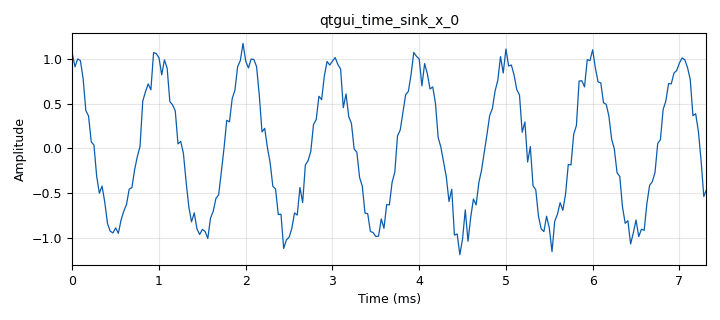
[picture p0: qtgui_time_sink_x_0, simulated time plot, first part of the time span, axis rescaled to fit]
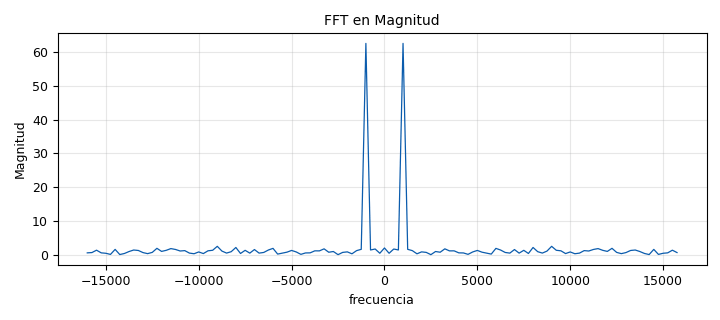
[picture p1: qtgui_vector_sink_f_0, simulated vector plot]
<?xml version='1.0' encoding='utf-8'?>
<?grc format='1' created='3.7.13'?>
<flow_graph>
<block>
<key>options</key>
<param><key>id</key><value>flujo_fft_grc</value></param>
<param><key>generate_options</key><value>qt_gui</value></param>
</block>
<block>
<key>variable</key>
<param><key>id</key><value>N</value></param>
<param><key>value</key><value>128</value></param>
</block>
<block>
<key>variable</key>
<param><key>id</key><value>f</value></param>
<param><key>value</key><value>1000.</value></param>
</block>
<block>
<key>variable</key>
<param><key>id</key><value>samp_rate</value></param>
<param><key>value</key><value>32000.</value></param>
</block>
<block>
<key>analog_noise_source_x</key>
<param><key>id</key><value>analog_noise_source_x_0</value></param>
<param><key>amp</key><value>0.1</value></param>
<param><key>noise_type</key><value>analog.GR_GAUSSIAN</value></param>
<param><key>type</key><value>float</value></param>
<param><key>seed</key><value>0</value></param>
</block>
<block>
<key>analog_sig_source_x</key>
<param><key>id</key><value>analog_sig_source_x_0</value></param>
<param><key>amp</key><value>1</value></param>
<param><key>freq</key><value>f</value></param>
<param><key>offset</key><value>0</value></param>
<param><key>type</key><value>float</value></param>
<param><key>samp_rate</key><value>samp_rate</value></param>
<param><key>waveform</key><value>analog.GR_COS_WAVE</value></param>
</block>
<block>
<key>blocks_add_xx</key>
<param><key>id</key><value>blocks_add_xx_0</value></param>
<param><key>type</key><value>float</value></param>
</block>
<block>
<key>blocks_stream_to_vector</key>
<param><key>id</key><value>blocks_stream_to_vector_0</value></param>
<param><key>type</key><value>float</value></param>
<param><key>num_items</key><value>N</value></param>
</block>
<block>
<key>epy_block</key>
<param><key>id</key><value>e_fft_gnu</value></param>
<param><key>_source_code</key><value>import numpy as np
from gnuradio import gr


class e_vector_fft_ff(gr.sync_block):
    """calcula la fft en magnitud a una senal vectorial de N muestras y emtrega N muestras del espectro. N deber ser potencia de 2"""

    def __init__(self, N=128):  
        gr.sync_block.__init__(
            self,
            name='e_vector_fft_ff',   
            in_sig=[(np.float32,N)],
            out_sig=[(np.float32,N)]
        )
        self.N = N

    def work(self, input_items, output_items):
        in0 = input_items[0]
    	out0 = output_items[0]
    	out0[:]=abs(np.fft.fftshift(np.fft.fft(in0,self.N),1)) 
        return len(output_items[0])
</value></param>
<param><key>N</key><value>N</value></param>
</block>
<block>
<key>qtgui_time_sink_x</key>
<param><key>id</key><value>qtgui_time_sink_x_0</value></param>
<param><key>color1</key><value>"blue"</value></param>
<param><key>label1</key><value></value></param>
<param><key>size</key><value>1024</value></param>
<param><key>srate</key><value>samp_rate</value></param>
<param><key>type</key><value>float</value></param>
</block>
<block>
<key>qtgui_vector_sink_f</key>
<param><key>id</key><value>qtgui_vector_sink_f_0</value></param>
<param><key>autoscale</key><value>True</value></param>
<param><key>name</key><value>"FFT en Magnitud"</value></param>
<param><key>showports</key><value>True</value></param>
<param><key>vlen</key><value>N</value></param>
<param><key>x_axis_label</key><value>"frecuencia"</value></param>
<param><key>x_start</key><value>-samp_rate/2.</value></param>
<param><key>x_step</key><value>samp_rate/N</value></param>
<param><key>ymax</key><value>40</value></param>
<param><key>ymin</key><value>-10</value></param>
<param><key>y_axis_label</key><value>"Magnitud"</value></param>
</block>
<connection><source_block_id>analog_noise_source_x_0</source_block_id><sink_block_id>blocks_add_xx_0</sink_block_id><source_key>0</source_key><sink_key>1</sink_key></connection>
<connection><source_block_id>analog_sig_source_x_0</source_block_id><sink_block_id>blocks_add_xx_0</sink_block_id><source_key>0</source_key><sink_key>0</sink_key></connection>
<connection><source_block_id>blocks_add_xx_0</source_block_id><sink_block_id>blocks_stream_to_vector_0</sink_block_id><source_key>0</source_key><sink_key>0</sink_key></connection>
<connection><source_block_id>blocks_add_xx_0</source_block_id><sink_block_id>qtgui_time_sink_x_0</sink_block_id><source_key>0</source_key><sink_key>0</sink_key></connection>
<connection><source_block_id>blocks_stream_to_vector_0</source_block_id><sink_block_id>e_fft_gnu</sink_block_id><source_key>0</source_key><sink_key>0</sink_key></connection>
<connection><source_block_id>e_fft_gnu</source_block_id><sink_block_id>qtgui_vector_sink_f_0</sink_block_id><source_key>0</source_key><sink_key>0</sink_key></connection>
</flow_graph>
